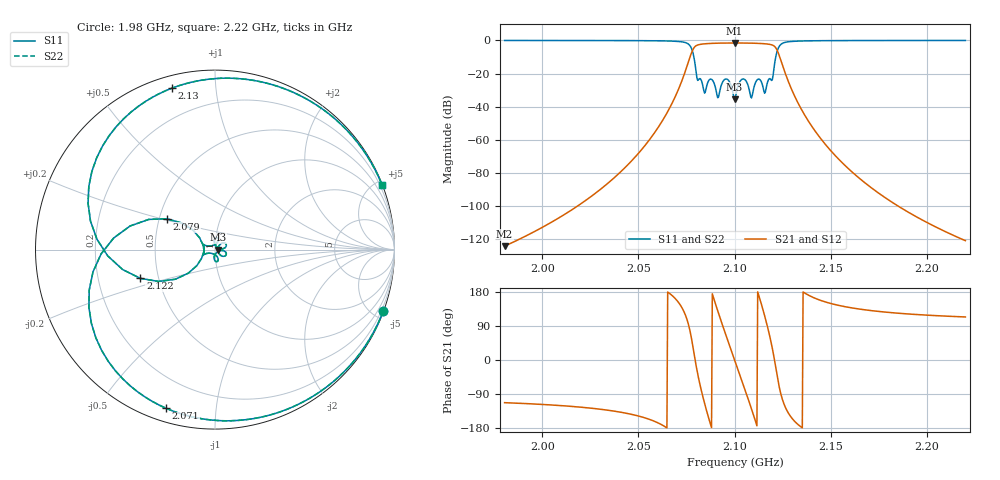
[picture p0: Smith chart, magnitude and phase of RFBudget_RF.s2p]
# GHz S RI R 50
! S-Parameters data
! Freq  reS11  imS11  reS21  imS21  reS12  imS12  reS22  imS22
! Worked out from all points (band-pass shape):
!   600 points, 1.98 GHz to 2.22 GHz, reference 50 ohm
!   highest |S21| = -1.53 dB at 2.1 GHz (marker M1); lowest = -124.3 dB at 1.98 GHz (marker M2)
!   |S21| within 3 dB of the highest: 2.079 GHz to 2.121 GHz (42.6 MHz wide, 2.03 % of centre)
!   lowest |S11| = -35.6 dB at 2.1 GHz (marker M3), VSWR 1.03, Z = 51.7 + j0.00024 ohm
!   |S11| at or under -10 dB: 2.079 GHz to 2.121 GHz (42.6 MHz wide, 2.03 % of centre)
!   |S22| runs from -35.6 to 0.0 dB; largest |S21 - S12| = 0
!   S11 on the Smith chart (normalised r, x): 1.98 GHz: 0.04, -5.63; 2.071 GHz: 0.06, -0.74; 2.079 GHz: 0.55, +0.21; 2.122 GHz: 0.39, -0.16; 2.13 GHz: 0.06, +0.77; 2.22 GHz: 0.03, +5.32
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1.9804  0.9369 -0.3435  -2.34e-07 -5.62e-07  -2.34e-07 -5.62e-07  0.9369 -0.3435
2.0204  0.8531 -0.512  -6.82e-06 -9.86e-06  -6.82e-06 -9.86e-06  0.8531 -0.512
2.0404  0.7316 -0.6676  -7.56e-05 -6.94e-05  -7.56e-05 -6.94e-05  0.7316 -0.6676
2.0604  0.3612 -0.9045  -0.00236 -0.000567  -0.00236 -0.000567  0.3612 -0.9045
2.0712  -0.273 -0.884  -0.0325 0.0193  -0.0325 0.0193  -0.273 -0.884
2.076  -0.7023 -0.3229  -0.015 0.227  -0.015 0.227  -0.7023 -0.3229
2.0788  -0.2688 0.1717  0.5539 0.2064  0.5539 0.2064  -0.2688 0.1717
2.0832  -0.0454 -0.0213  -0.0135 -0.7766  -0.0135 -0.7766  -0.0454 -0.0213
2.0884  0.00138 -0.0637  -0.812 0.0754  -0.812 0.0754  0.00138 -0.0637
2.094  0.0574 -0.0118  0.0378 0.831  0.0378 0.831  0.0574 -0.0118
2.1  0.0165 2.32e-06  0.8381 -2.46e-05  0.8381 -2.46e-05  0.0165 2.32e-06
2.1004  0.0172 0.0079  0.8338 -0.0844  0.8338 -0.0844  0.0172 0.0079
2.106  0.0576 0.012  0.0415 -0.8317  0.0415 -0.8317  0.0576 0.012
2.1116  0.000696 0.0632  -0.8126 -0.0904  -0.8126 -0.0904  0.000696 0.0632
2.1168  -0.0419 0.0202  -0.0505 0.7799  -0.0505 0.7799  -0.0419 0.0202
2.1196  -0.063 -0.0141  0.6207 0.3751  0.6207 0.3751  -0.063 -0.0141
2.122  -0.4155 -0.1604  0.4083 -0.322  0.4083 -0.322  -0.4155 -0.1604
2.1296  -0.2381 0.9002  -0.0296 -0.0155  -0.0296 -0.0155  -0.2381 0.9002
2.1404  0.3628 0.9049  -0.00234 0.00058  -0.00234 0.00058  0.3628 0.9049
2.1612  0.7308 0.6693  -7.67e-05 7.08e-05  -7.67e-05 7.08e-05  0.7308 0.6693
2.1804  0.8448 0.5257  -8.52e-06 1.2e-05  -8.52e-06 1.2e-05  0.8448 0.5257
2.22  0.9299 0.362  -3.57e-07 8.17e-07  -3.57e-07 8.17e-07  0.9299 0.362
